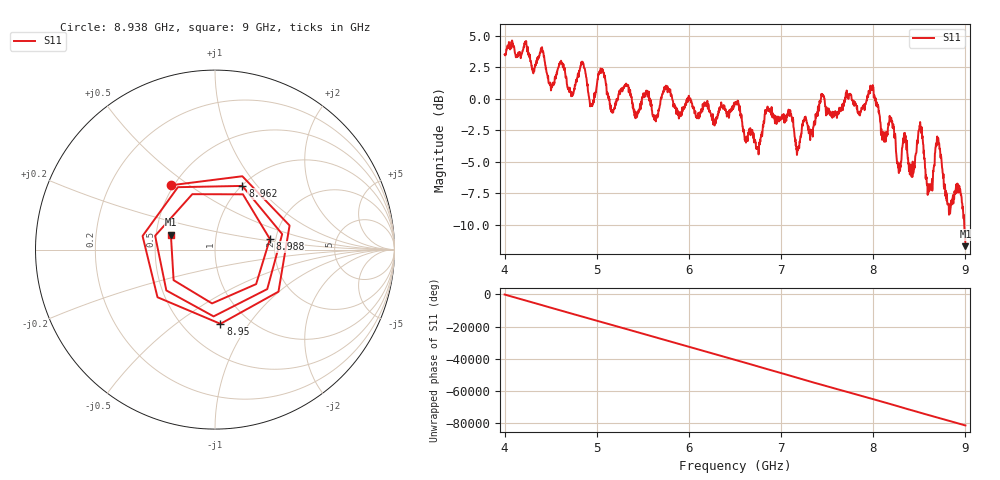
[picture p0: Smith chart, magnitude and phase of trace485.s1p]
! Created with skrf 1.8.0 (http://scikit-rf.org).
# Hz S RI R 50.0
!freq ReS11 ImS11
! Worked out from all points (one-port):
!   1601 points, 4 GHz to 9 GHz, reference 50 ohm
!   lowest |S11| = -11.7 dB at 9 GHz (marker M1), VSWR 1.70, Z = 29.9 + j5.31 ohm
!   |S11| at or under -10 dB: 8.987401 GHz to end of sweep
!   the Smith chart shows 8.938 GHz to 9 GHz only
!   S11 on the Smith chart (normalised r, x): 8.938 GHz: 0.49, +0.43; 8.95 GHz: 0.75, -0.74; 8.962 GHz: 1.01, +0.84; 8.988 GHz: 1.86, +0.24; 9 GHz: 0.60, +0.11
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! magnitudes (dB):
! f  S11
! 4 GHz  3.5
! 4.625 GHz  2.8
! 4.728 GHz  0.5
! 4.85 GHz  2.9
! 4.944 GHz  -0.5
! 5.047 GHz  2.0
! 5.166 GHz  -1.0
! 5.25 GHz  0.4
! 5.875 GHz  -0.9
! 6.5 GHz  -0.4
! 6.744 GHz  -3.8
! 6.85 GHz  -0.9
! 7.125 GHz  -1.8
! 7.184 GHz  -3.9
! 7.441 GHz  0.2
! 7.75 GHz  0.3
! 7.994 GHz  1.1
! 8.275 GHz  -5.6
! 8.375 GHz  -4.8
! 8.512 GHz  -2.1
! 8.606 GHz  -7.4
! 8.7 GHz  -3.2
! 8.816 GHz  -8.4
! 8.938 GHz  -7.3
! 8.95 GHz  -7.6
! 8.962 GHz  -8.3
! 8.988 GHz  -10.1
! 9 GHz  -11.7
